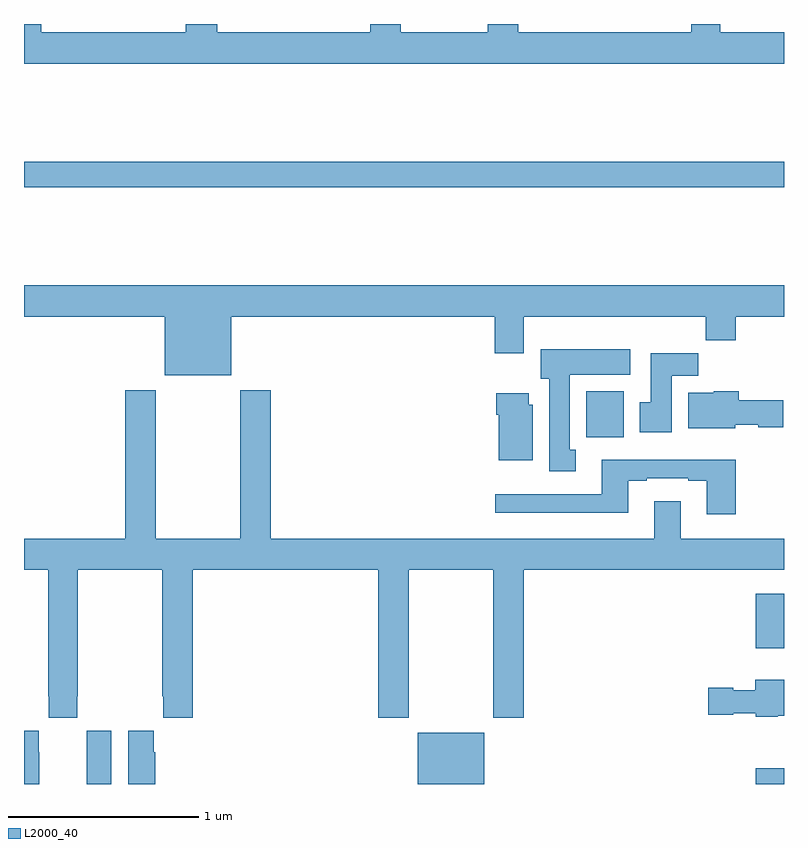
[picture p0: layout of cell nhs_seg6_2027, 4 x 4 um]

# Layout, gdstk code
import gdstk
lib = gdstk.Library(unit=1e-6, precision=1e-09)
def R(c, l, rs):  # rectangles x0, y0, x1, y1
    for r in rs: c.add(gdstk.rectangle(r[:2], r[2:], *l))
def P(c, l, *ps):  # polygons
    for p in ps: c.add(gdstk.Polygon(p, *l))
L2000_40 = (2000, 40)

nhs_seg6_2027 = lib.new_cell('nhs_seg6_2027')
R(nhs_seg6_2027, L2000_40, [(233.072,987.5,233.422,987.769), (234.851,987.5,235,987.584), (234.851,988.214,235,988.501), (233.96,989.324,234.157,989.566), (231,990.64,235,990.776)])
P(nhs_seg6_2027, L2000_40, [(235,991.456),(234.664,991.456),(234.664,991.5),(234.512,991.5),(234.512,991.456),(233.6,991.456),(233.6,991.5),(233.44,991.5),(233.44,991.456),(232.983,991.456),(232.983,991.5),(232.823,991.5),(232.823,991.456),(232.016,991.456),(232.016,991.5),(231.851,991.5),(231.851,991.456),(231.092,991.456),(231.092,991.5),(231,991.5),(231,991.292),(235,991.292)],
  [(232.09,989.96),(233.477,989.96),(233.477,989.766),(233.629,989.766),(233.629,989.96),(234.589,989.96),(234.589,989.836),(234.746,989.836),(234.746,989.96),(235,989.96),(235,990.124),(231,990.124),(231,989.96),(231.74,989.96),(231.74,989.651),(232.09,989.651)],
  [(233.905,989.258),(233.872,989.258),(233.872,989.654),(234.19,989.654),(234.19,989.788),(233.72,989.788),(233.72,989.634),(233.765,989.634),(233.765,989.145),(233.905,989.145)],
  [(234.409,989.648),(234.548,989.648),(234.548,989.767),(234.299,989.767),(234.299,989.508),(234.242,989.508),(234.242,989.352),(234.409,989.352)],
  [(231.279,987.961),(231.282,987.961),(231.282,988.628),(231.727,988.628),(231.727,987.961),(231.733,987.961),(231.733,987.849),(231.887,987.849),(231.887,988.628),(232.865,988.628),(232.865,987.849),(233.025,987.849),(233.025,988.628),(233.47,988.628),(233.47,987.849),(233.63,987.849),(233.63,988.628),(235,988.628),(235,988.792),(234.457,988.792),(234.457,988.987),(234.317,988.987),(234.317,988.792),(232.298,988.792),(232.298,989.572),(232.138,989.572),(232.138,988.792),(231.693,988.792),(231.693,989.572),(231.533,989.572),(231.533,988.792),(231,988.792),(231,988.628),(231.127,988.628),(231.127,987.961),(231.129,987.961),(231.129,987.849),(231.279,987.849)],
  [(234.744,989.39),(234.864,989.39),(234.864,989.378),(234.997,989.378),(234.997,989.52),(234.761,989.52),(234.761,989.566),(234.63,989.566),(234.63,989.56),(234.497,989.56),(234.497,989.372),(234.744,989.372)],
  [(233.677,989.496),(233.656,989.496),(233.656,989.557),(233.486,989.557),(233.486,989.444),(233.498,989.444),(233.498,989.204),(233.677,989.204)],
  [(234.746,989.206),(234.041,989.206),(234.041,989.025),(233.481,989.025),(233.481,988.928),(234.181,988.928),(234.181,989.097),(234.277,989.097),(234.277,989.109),(234.497,989.109),(234.497,989.097),(234.593,989.097),(234.593,988.92),(234.746,988.92)],
  [(234.966,987.86),(235,987.86),(235,988.048),(234.848,988.048),(234.848,987.994),(234.732,987.994),(234.732,988.007),(234.6,988.007),(234.6,987.865),(234.732,987.865),(234.732,987.872),(234.852,987.872),(234.852,987.854),(234.966,987.854)],
  [(231.079,987.668),(231.078,987.668),(231.078,987.781),(231,987.781),(231,987.5),(231.079,987.5)],
  [(231.46,987.781),(231.33,987.781),(231.33,987.668),(231.329,987.668),(231.329,987.5),(231.46,987.5)],
  [(231.692,987.668),(231.682,987.668),(231.682,987.781),(231.548,987.781),(231.548,987.5),(231.692,987.5)])

lib.write_gds('nhs_seg6_2027.gds')
